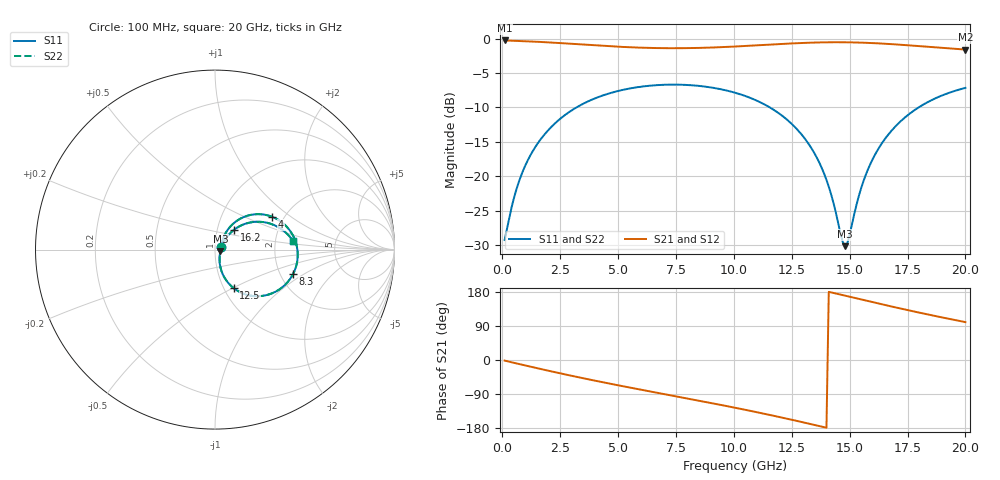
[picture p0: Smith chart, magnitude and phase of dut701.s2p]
! Touchstone file exported from HFSS 2026.1.0
!  File:  C:/ffzhzh/LocalFiles/Ansys_Project_Files/temp_train_TSV_RDL_701_1783199019_51560.aedt
!  Generated:  05:14:09 AM Jul  5, 2026
!  Design:  TSV_RDL
!  Project:  temp_train_TSV_RDL_701_1783199019_51560
! Variables:
!  h_bsmrdl = 2.18um
!  h_ox = 20um
!  h_rdl = 5um
!  h_sub = 83.66um
!  h_tmrdl = 3.31um
!  h_tsv = 83.66um
!  h_via = 3um
!  l_bsmrdl = 529.96um
!  l_sub = 4119.21um
!  l_tmrdl = 501.59um
!  m_sub = 200um
!  pitch = 39.7um
!  r_tsv = 6.81um
!  s_tmrdl = 10um
!  w_bsmrdl = 11.1um
!  w_sub = 500um
!  w_tmrdl = 29.89um
!  x_tsv_center1 = 516.535um
!  x_tsv_center2 = 1057.595um
!  x_tsv_center3 = 1589.075um
!  x_tsv_center4 = 2130.135um
!  x_tsv_center5 = 2661.615um
!  x_tsv_center6 = 3202.675um
# GHz S MA R 50.000000
! Terminal data exported
! Port[1] = TM_RDL1_1_T1
! Port[2] = TM_RDL5_1_T1
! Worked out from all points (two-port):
!   200 points, 100 MHz to 20 GHz, reference 50 ohm
!   highest |S21| = -0.28 dB at 100 MHz (marker M1); lowest = -1.6 dB at 20 GHz (marker M2)
!   |S21| within 3 dB of the highest: start of sweep to end of sweep
!   lowest |S11| = -30.2 dB at 14.8 GHz (marker M3), VSWR 1.06, Z = 53.1 - j0.859 ohm
!   |S11| at or under -10 dB: start of sweep to 3.207 GHz; 11.55 GHz to 17.98 GHz (6.432 GHz wide, 43.6 % of centre)
!   |S22| runs from -30.1 to -6.7 dB; largest |S21 - S12| = 4.4e-14
!   S11 on the Smith chart (normalised r, x): 100 MHz: 1.07, +0.03; 4 GHz: 1.74, +0.73; 8.3 GHz: 2.35, -0.80; 12.5 GHz: 1.11, -0.51; 16.2 GHz: 1.20, +0.27; 20 GHz: 2.52, +0.29
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0.1  0.03444 20.6  0.968 -1.5  0.968 -1.5  0.03444 20.6
! Gamma 0 0 0 0
! Port Impedance 50 0 50 0
0.6  0.07929 54.6  0.961 -8.9  0.961 -8.9  0.07929 54.6
1.3  0.1506 56.6  0.9505 -18.7  0.9505 -18.7  0.1506 56.6
2.2  0.2355 49.3  0.9331 -31.1  0.9331 -31.1  0.2355 49.3
3.5  0.3365 35.4  0.9031 -48.2  0.9031 -48.2  0.3365 35.4
4  0.3675 29.8  0.8918 -54.5  0.8918 -54.5  0.3675 29.8
5.3  0.4271 15.4  0.8671 -70.3  0.8671 -70.3  0.4271 15.4
6.8  0.4599 -1.0  0.8518 -87.8  0.8518 -87.8  0.4599 -1.0
8.3  0.456 -17.2  0.8532 -105.1  0.8532 -105.1  0.456 -17.2
10.1  0.4019 -37.1  0.8755 -126.5  0.8755 -126.5  0.4019 -37.1
11.4  0.327 -51.9  0.9003 -143.0  0.9003 -143.0  0.327 -51.8
12.5  0.2399 -64.0  0.921 -157.7  0.921 -157.7  0.2399 -64.0
13.4  0.1549 -72.0  0.9338 -170.2  0.9338 -170.2  0.1549 -71.9
14.1  0.084 -71.5  0.939 179.8  0.939 179.8  0.08405 -71.3
14.7  0.03338 -33.0  0.9393 171.2  0.9393 171.2  0.0336 -32.8
14.8  0.03107 -15.1  0.939 169.8  0.939 169.8  0.03133 -15.0
14.9  0.03258 3.4  0.9385 168.3  0.9385 168.3  0.03285 3.3
15.6  0.0923 46.4  0.9323 158.3  0.9323 158.3  0.09245 46.2
16.2  0.1539 46.2  0.923 149.7  0.923 149.7  0.1541 46.1
16.7  0.2036 42.3  0.9129 142.7  0.9129 142.7  0.2037 42.2
18.3  0.3401 25.2  0.8727 121.2  0.8727 121.2  0.3402 25.1
20  0.438 6.1  0.8316 99.9  0.8316 99.9  0.438 6.1
